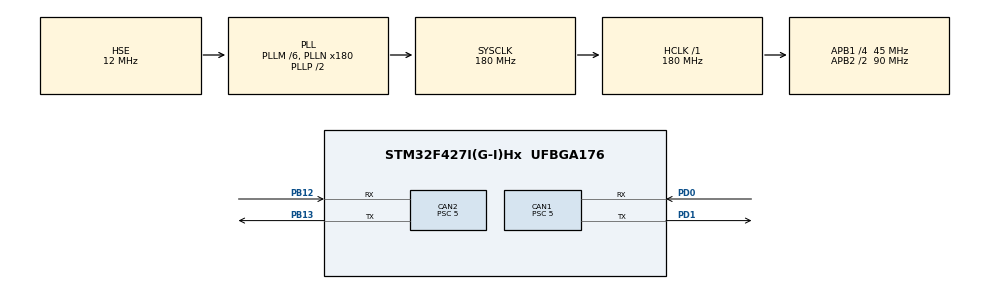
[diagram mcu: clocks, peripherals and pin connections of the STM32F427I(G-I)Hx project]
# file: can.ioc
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CAN1.ABOM=ENABLE
CAN1.BS1=CAN_BS1_3TQ
CAN1.BS2=CAN_BS2_5TQ
CAN1.CalculateBaudRate=1000000
CAN1.CalculateTimeBit=1000
CAN1.CalculateTimeQuantum=111.11111111111111
CAN1.Mode=CAN_MODE_NORMAL
CAN1.NART=ENABLE
CAN1.Prescaler=5
CAN2.BS1=CAN_BS1_3TQ
CAN2.BS2=CAN_BS2_5TQ
CAN2.CalculateBaudRate=1000000
CAN2.CalculateTimeBit=1000
CAN2.CalculateTimeQuantum=111.11111111111111
CAN2.Prescaler=5
Mcu.Family=STM32F4
Mcu.Name=STM32F427I(G-I)Hx
Mcu.Package=UFBGA176
NVIC.CAN1_RX0_IRQn=true\:0\:0\:false\:false\:true\:true\:true\:true
NVIC.CAN2_RX0_IRQn=true\:0\:0\:false\:false\:true\:true\:true\:true
NVIC.PriorityGroup=NVIC_PRIORITYGROUP_4
NVIC.TIM8_UP_TIM13_IRQn=true\:15\:0\:false\:false\:true\:false\:true\:true
NVIC.TimeBase=TIM8_UP_TIM13_IRQn
NVIC.TimeBaseIP=TIM13
PA13.Mode=Serial_Wire
PA13.Signal=SYS_JTMS-SWDIO
PA14.Mode=Serial_Wire
PA14.Signal=SYS_JTCK-SWCLK
PB12.Mode=CAN_Activate
PB12.Signal=CAN2_RX
PB13.Mode=CAN_Activate
PB13.Signal=CAN2_TX
PD0.Mode=CAN_Activate
PD0.Signal=CAN1_RX
PD1.Mode=CAN_Activate
PD1.Signal=CAN1_TX
PH0/OSC_IN.Mode=HSE-External-Oscillator
PH0/OSC_IN.Signal=RCC_OSC_IN
PH1/OSC_OUT.Mode=HSE-External-Oscillator
PH1/OSC_OUT.Signal=RCC_OSC_OUT
ProjectManager.HeapSize=0x200
ProjectManager.StackSize=0x400
ProjectManager.TargetToolchain=MDK-ARM V5.32
RCC.48MHZClocksFreq_Value=90000000
RCC.AHBFreq_Value=180000000
RCC.APB1CLKDivider=RCC_HCLK_DIV4
RCC.APB1Freq_Value=45000000
RCC.APB1TimFreq_Value=90000000
RCC.APB2CLKDivider=RCC_HCLK_DIV2
RCC.APB2Freq_Value=90000000
RCC.APB2TimFreq_Value=180000000
RCC.CortexFreq_Value=180000000
RCC.HCLKFreq_Value=180000000
RCC.HSE_VALUE=12000000
RCC.HSI_VALUE=16000000
RCC.LSE_VALUE=32768
RCC.PLLM=6
RCC.PLLN=180
RCC.PLLSourceVirtual=RCC_PLLSOURCE_HSE
RCC.SYSCLKFreq_VALUE=180000000
RCC.SYSCLKSource=RCC_SYSCLKSOURCE_PLLCLK
RCC.VCOOutputFreq_Value=360000000
VP_SYS_VS_tim13.Mode=TIM13
board=custom

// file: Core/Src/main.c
/* USER CODE BEGIN Header */
/**
 ******************************************************************************
 * @file           : main.c
 * @brief          : Main program body
 ******************************************************************************
 * @attention
 *
 * Copyright (c) 2024 STMicroelectronics.
 * All rights reserved.
 *
 * This software is licensed under terms that can be found in the LICENSE file
 * in the root directory of this software component.
 * If no LICENSE file comes with this software, it is provided AS-IS.
 *
 ******************************************************************************
 */
/* USER CODE END Header */
#include "main.h"
#include "can.h"
#include "gpio.h"

/* USER CODE BEGIN Includes */
#include "maincpp.h"
/* USER CODE END Includes */

/* USER CODE BEGIN PV */
void CANFilterConfig_AnyId(void);
void test();
void can_filter_init(void);
void Configure_Filter(void);
/* USER CODE END PV */

void SystemClock_Config(void);

int main(void)
{

  /* MCU Configuration--------------------------------------------------------*/

  /* Reset of all peripherals, Initializes the Flash interface and the Systick. */
  HAL_Init();

  /* Configure the system clock */
  SystemClock_Config();

  /* Initialize all configured peripherals */
  MX_GPIO_Init();
  MX_CAN1_Init();
  MX_CAN2_Init();
  /* USER CODE BEGIN 2 */
  // can_filter_init();
  // CANFilterConfig_AnyId();
  // HAL_CAN_Start(&hcan1);
  // HAL_CAN_Start(&hcan2);
  // can_filter_init();
  Configure_Filter();
  main_cpp();
  /* USER CODE END 2 */

  /* Infinite loop */
  while (1)
  {

    /* USER CODE BEGIN 3 */
    test();
    HAL_Delay(10);
  }
  /* USER CODE END 3 */
}

void SystemClock_Config(void)
{
  RCC_OscInitTypeDef RCC_OscInitStruct = {0};
  RCC_ClkInitTypeDef RCC_ClkInitStruct = {0};

  /** Configure the main internal regulator output voltage
   */
  __HAL_RCC_PWR_CLK_ENABLE();
  __HAL_PWR_VOLTAGESCALING_CONFIG(PWR_REGULATOR_VOLTAGE_SCALE1);

  /** Initializes the RCC Oscillators according to the specified parameters
   * in the RCC_OscInitTypeDef structure.
   */
  RCC_OscInitStruct.OscillatorType = RCC_OSCILLATORTYPE_HSE;
  RCC_OscInitStruct.HSEState = RCC_HSE_ON;
  RCC_OscInitStruct.PLL.PLLState = RCC_PLL_ON;
  RCC_OscInitStruct.PLL.PLLSource = RCC_PLLSOURCE_HSE;
  RCC_OscInitStruct.PLL.PLLM = 6;
  RCC_OscInitStruct.PLL.PLLN = 180;
  RCC_OscInitStruct.PLL.PLLP = RCC_PLLP_DIV2;
  RCC_OscInitStruct.PLL.PLLQ = 4;
  if (HAL_RCC_OscConfig(&RCC_OscInitStruct) != HAL_OK)
  {
    Error_Handler();
  }

  /** Activate the Over-Drive mode
   */
  if (HAL_PWREx_EnableOverDrive() != HAL_OK)
  {
    Error_Handler();
  }

  /** Initializes the CPU, AHB and APB buses clocks
   */
  RCC_ClkInitStruct.ClockType = RCC_CLOCKTYPE_HCLK | RCC_CLOCKTYPE_SYSCLK | RCC_CLOCKTYPE_PCLK1 | RCC_CLOCKTYPE_PCLK2;
  RCC_ClkInitStruct.SYSCLKSource = RCC_SYSCLKSOURCE_PLLCLK;
  RCC_ClkInitStruct.AHBCLKDivider = RCC_SYSCLK_DIV1;
  RCC_ClkInitStruct.APB1CLKDivider = RCC_HCLK_DIV4;
  RCC_ClkInitStruct.APB2CLKDivider = RCC_HCLK_DIV2;

  if (HAL_RCC_ClockConfig(&RCC_ClkInitStruct, FLASH_LATENCY_5) != HAL_OK)
  {
    Error_Handler();
  }
}

/* USER CODE BEGIN 4 */
void test()
{

  // �?????0个是电调1的高8位，�?????1个是�????? �?????1的低8位，依次类推
  uint8_t _common_buffer[8] = {0};
  _common_buffer[0] = 0x01;
  _common_buffer[1] = 0x00;
  uint32_t TxMailbox;
  CAN_TxHeaderTypeDef Can_Tx;
  Can_Tx.DLC = 0x08;
  Can_Tx.ExtId = 0x0000;

  // 大疆的电机协议，1-4�?????0x200,5-8�?????0x1FF

  Can_Tx.StdId = 0x200;

  Can_Tx.IDE = CAN_ID_STD;
  Can_Tx.RTR = CAN_RTR_DATA;
  Can_Tx.TransmitGlobalTime = DISABLE; // 不传输时间戳
  while (HAL_CAN_GetTxMailboxesFreeLevel(&hcan1) == 0)
  {
    /* code */
  }
  HAL_CAN_AddTxMessage(&hcan1, &Can_Tx, _common_buffer, &TxMailbox);

  HAL_Delay(1);
}
void Configure_Filter(void)
{
  CAN_FilterTypeDef sFilterConfig;
  sFilterConfig.FilterIdHigh = 0x0000;
  sFilterConfig.FilterIdLow = 0x0000;
  sFilterConfig.FilterMaskIdHigh = 0x0000;
  sFilterConfig.FilterMaskIdLow = 0x0000;
  sFilterConfig.FilterFIFOAssignment = CAN_FILTER_FIFO0; // 把接收到的报文放入到FIFO0
  sFilterConfig.FilterBank = 0;
  sFilterConfig.FilterScale = CAN_FILTERSCALE_32BIT;
  sFilterConfig.FilterMode = CAN_FILTERMODE_IDMASK;
  sFilterConfig.FilterActivation = ENABLE;
  // sFilterConfig.SlaveStartFilterBank = 14;//为从CAN实例选择启动筛�?�器组�?�对于单个CAN实例，此参数没有意义。对于双CAN实例，所有具有较低索引的过滤器组都被分配给主CAN实例，�?�所有具有较大索引的过滤器组都被分配给从CAN实例。该参数必须为Min_Data = O和Max_Data =27之间的一个数�??.

  if (HAL_CAN_ConfigFilter(&hcan1, &sFilterConfig) != HAL_OK) // creat CanFilter
  {
    // HAL_GPIO_WritePin(GPIOG, GPIO_PIN_9, GPIO_PIN_RESET);
    Error_Handler(); //_Error_Handler(__FILE__, __LINE__);
  }
  if (HAL_CAN_Start(&hcan1) != HAL_OK) // initialize can
  {
    // HAL_GPIO_WritePin(GPIOG, GPIO_PIN_9, GPIO_PIN_RESET);
    Error_Handler(); //_Error_Handler(__FILE__, __LINE__);
  }
  // 当FIFO0中有消息的时候进入中
  if (HAL_CAN_ActivateNotification(&hcan1, CAN_IT_RX_FIFO0_MSG_PENDING) != HAL_OK) // The FIFO0 receive interrupt function was enabled
  {
    // HAL_GPIO_WritePin(GPIOG, GPIO_PIN_9, GPIO_PIN_RESET);
    Error_Handler(); //_Error_Handler(__FILE__, __LINE__);
  }
}
void can_filter_init(void)
{
  CAN_FilterTypeDef can_filter_st;
  can_filter_st.FilterActivation = ENABLE;           // �??启过滤器
  can_filter_st.FilterMode = CAN_FILTERMODE_IDMASK;  // 过滤器模式，此处设置为掩码模�??
  can_filter_st.FilterScale = CAN_FILTERSCALE_32BIT; // 过滤器大小设�??
  can_filter_st.FilterIdHigh = 0x0000;               // 校验码高八位
  can_filter_st.FilterIdLow = 0x0000;                // 校验码低八位
  can_filter_st.FilterMaskIdHigh = 0x0000;           // 掩码高八�??
  can_filter_st.FilterMaskIdLow = 0x0000;            // 掩码低八�??
  can_filter_st.FilterBank = 0;                      // 过滤器编号，CAN1�??0~13
  can_filter_st.FilterFIFOAssignment = CAN_RX_FIFO0; // 设置FIFO
  HAL_CAN_ConfigFilter(&hcan1, &can_filter_st);      // 设置过滤�??
  HAL_CAN_Start(&hcan1);
  HAL_CAN_ActivateNotification(&hcan1, CAN_IT_RX_FIFO0_MSG_PENDING); // �??启中断接�??
}
void CANFilterConfig_AnyId(void)
{
  // CAN_FilterConfTypeDef  sFilterConfig;
  CAN_FilterTypeDef sFilterConfig;

  sFilterConfig.FilterIdHigh = 0x0000; // 32 �???????? ID		  不使用过滤器
  sFilterConfig.FilterIdLow = 0x0000;
  sFilterConfig.FilterMaskIdHigh = 0x0000; // 32 �???????? MASK
  sFilterConfig.FilterMaskIdLow = 0x0000;
  sFilterConfig.FilterBank = 0;                          // 过滤�????????0
  sFilterConfig.FilterFIFOAssignment = CAN_FILTER_FIFO0; // 过滤�????????0关联到FIFO0
  sFilterConfig.FilterMode = CAN_FILTERMODE_IDMASK;
  sFilterConfig.FilterScale = CAN_FILTERSCALE_32BIT;
  sFilterConfig.FilterActivation = ENABLE; // �????????活过滤器0
  sFilterConfig.SlaveStartFilterBank = 14;
  if (HAL_CAN_ConfigFilter(&hcan1, &sFilterConfig) != HAL_OK)
  {
    Error_Handler();
  }
  HAL_CAN_ActivateNotification(&hcan1, CAN_IT_RX_FIFO0_MSG_PENDING);
  // sFilterConfig.SFilterBank = 14;
  // if (HAL_CAN_ConfigFilter(&hcan1, &sFilterConfig) != HAL_OK)
  // {
  // Error_Handler();
  // }
  HAL_CAN_ActivateNotification(&hcan2, CAN_IT_RX_FIFO0_MSG_PENDING);
}
void HAL_CAN_RxFifo0MsgPendingCallback(CAN_HandleTypeDef *hcan) // CAN接收中断
{
  CAN_RxHeaderTypeDef rx_header;
  uint8_t rx_data[8];
  HAL_CAN_GetRxMessage(hcan, CAN_RX_FIFO0, &rx_header, rx_data);
  // HAL_Delay(1);
  switch (rx_header.StdId)
  {

  default:
  {
    break;
  }
  }
}
/* USER CODE END 4 */

void HAL_TIM_PeriodElapsedCallback(TIM_HandleTypeDef *htim)
{
  if (htim->Instance == TIM13)
  {
    HAL_IncTick();
  }
}

void Error_Handler(void)
{
  __disable_irq();
  while (1)
  {
  }
}
